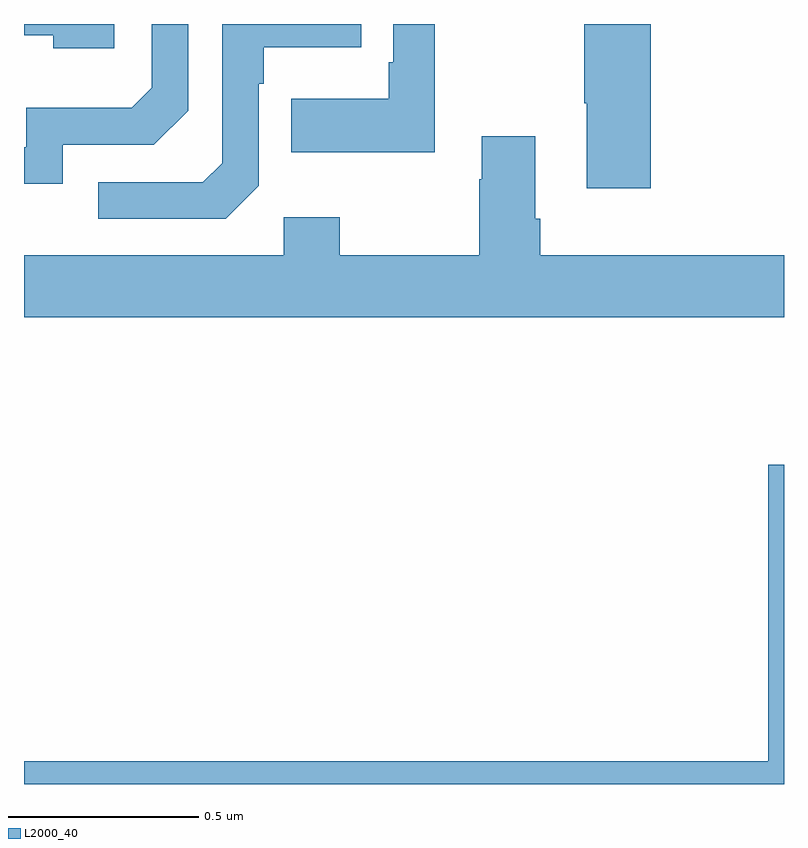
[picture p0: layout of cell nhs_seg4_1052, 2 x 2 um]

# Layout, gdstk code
import gdstk
lib = gdstk.Library(unit=1e-6, precision=1e-09)
def P(c, l, *ps):  # polygons
    for p in ps: c.add(gdstk.Polygon(p, *l))
L2000_40 = (2000, 40)

nhs_seg4_1052 = lib.new_cell('nhs_seg4_1052')
P(nhs_seg4_1052, L2000_40, [(123.618,822.474),(123.618,822.743),(123.631,822.743),(123.631,822.839),(123.887,822.839),(123.887,822.9),(123.522,822.9),(123.522,822.534),(123.471,822.483),(123.195,822.483),(123.195,822.387),(123.531,822.387)],
  [(124.649,822.9),(124.474,822.9),(124.474,822.691),(124.481,822.691),(124.481,822.468),(124.649,822.468)],
  [(123.102,822.582),(123.342,822.582),(123.432,822.672),(123.432,822.9),(123.336,822.9),(123.336,822.732),(123.283,822.679),(123.006,822.679),(123.006,822.576),(123,822.576),(123,822.48),(123.102,822.48)],
  [(124.081,822.9),(123.972,822.9),(123.972,822.799),(123.96,822.799),(123.96,822.703),(123.703,822.703),(123.703,822.563),(124.081,822.563)],
  [(123.238,822.9),(123,822.9),(123,822.87),(123.077,822.87),(123.077,822.836),(123.238,822.836)],
  [(125,822.292),(124.358,822.292),(124.358,822.388),(124.345,822.388),(124.345,822.604),(124.205,822.604),(124.205,822.491),(124.198,822.491),(124.198,822.292),(123.831,822.292),(123.831,822.391),(123.684,822.391),(123.684,822.292),(123,822.292),(123,822.128),(125,822.128)],
  [(125,821.74),(124.958,821.74),(124.958,820.96),(123,820.96),(123,820.9),(125,820.9)])

lib.write_gds('nhs_seg4_1052.gds')
